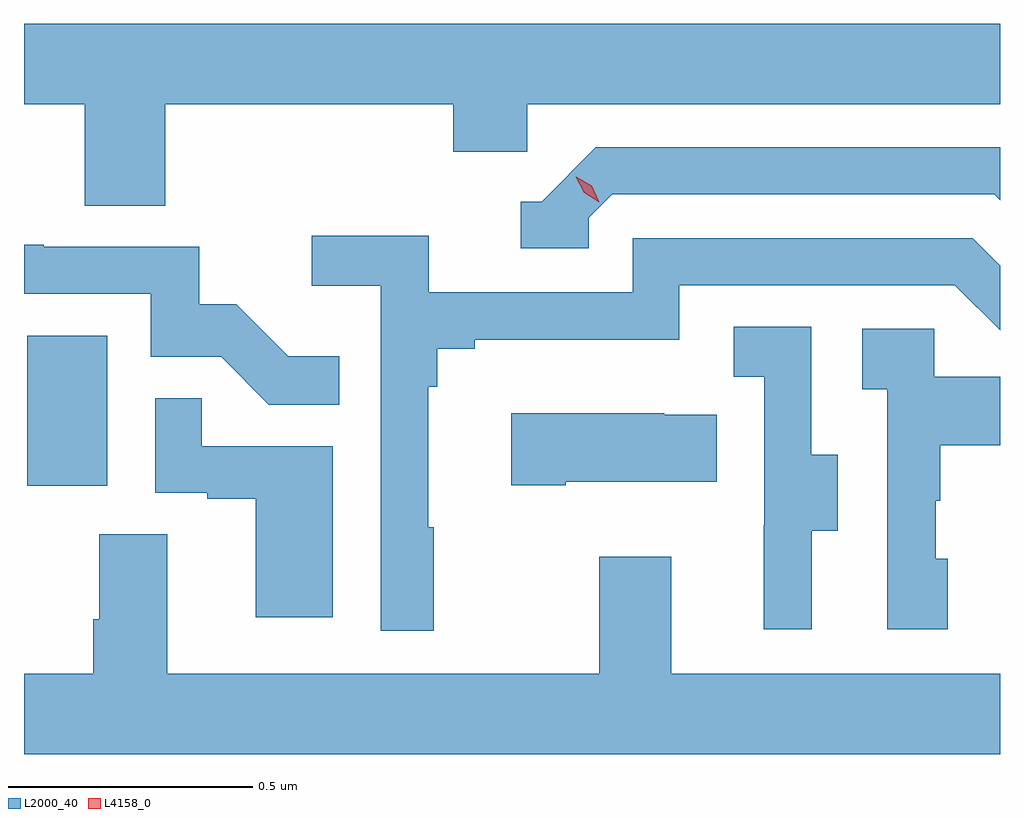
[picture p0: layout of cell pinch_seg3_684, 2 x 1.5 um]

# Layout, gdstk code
import gdstk
lib = gdstk.Library(unit=1e-6, precision=1e-09)
def R(c, l, rs):  # rectangles x0, y0, x1, y1
    for r in rs: c.add(gdstk.rectangle(r[:2], r[2:], *l))
def P(c, l, *ps):  # polygons
    for p in ps: c.add(gdstk.Polygon(p, *l))
L2000_40 = (2000, 40)
L4158_0 = (4158, 0)

pinch_seg3_684 = lib.new_cell('pinch_seg3_684')
R(pinch_seg3_684, L2000_40, [(1071.968,670.83,1072.132,671.137)])
P(pinch_seg3_684, L2000_40, [(1072.25,671.612),(1072.841,671.612),(1072.841,671.514),(1072.992,671.514),(1072.992,671.612),(1073.961,671.612),(1073.961,671.776),(1071.961,671.776),(1071.961,671.612),(1072.085,671.612),(1072.085,671.404),(1072.25,671.404)],
  [(1073.118,671.379),(1073.166,671.427),(1073.949,671.427),(1073.961,671.415),(1073.961,671.523),(1073.133,671.523),(1073.022,671.412),(1072.979,671.412),(1072.979,671.316),(1073.118,671.316)],
  [(1072.801,670.745),(1072.789,670.745),(1072.789,671.033),(1072.808,671.033),(1072.808,671.11),(1072.885,671.11),(1072.885,671.129),(1073.304,671.129),(1073.304,671.241),(1073.868,671.241),(1073.961,671.148),(1073.961,671.281),(1073.905,671.337),(1073.208,671.337),(1073.208,671.226),(1072.79,671.226),(1072.79,671.342),(1072.551,671.342),(1072.551,671.24),(1072.692,671.24),(1072.692,670.533),(1072.801,670.533)],
  [(1072.607,671.095),(1072.503,671.095),(1072.396,671.202),(1072.32,671.202),(1072.32,671.319),(1072.001,671.319),(1072.001,671.324),(1071.961,671.324),(1071.961,671.223),(1072.221,671.223),(1072.221,671.094),(1072.365,671.094),(1072.463,670.996),(1072.607,670.996)],
  [(1073.575,670.738),(1073.629,670.738),(1073.629,670.893),(1073.574,670.893),(1073.574,671.156),(1073.415,671.156),(1073.415,671.053),(1073.478,671.053),(1073.478,670.749),(1073.477,670.749),(1073.477,670.536),(1073.575,670.536)],
  [(1073.854,670.68),(1073.829,670.68),(1073.829,670.799),(1073.839,670.799),(1073.839,670.913),(1073.961,670.913),(1073.961,671.053),(1073.826,671.053),(1073.826,671.151),(1073.679,671.151),(1073.679,671.027),(1073.73,671.027),(1073.73,670.536),(1073.854,670.536)],
  [(1072.594,670.911),(1072.325,670.911),(1072.325,671.009),(1072.23,671.009),(1072.23,670.815),(1072.337,670.815),(1072.337,670.803),(1072.436,670.803),(1072.436,670.56),(1072.594,670.56)],
  [(1073.071,670.838),(1073.381,670.838),(1073.381,670.975),(1073.273,670.975),(1073.273,670.978),(1072.959,670.978),(1072.959,670.831),(1073.071,670.831)],
  [(1073.961,670.444),(1073.287,670.444),(1073.287,670.684),(1073.14,670.684),(1073.14,670.444),(1072.255,670.444),(1072.255,670.73),(1072.115,670.73),(1072.115,670.556),(1072.103,670.556),(1072.103,670.444),(1071.961,670.444),(1071.961,670.28),(1073.961,670.28)])
P(pinch_seg3_684, L4158_0, [(1073.14,671.411),(1073.109,671.43),(1073.092,671.463),(1073.092,671.463),(1073.093,671.463),(1073.124,671.444),(1073.14,671.411),(1073.14,671.411)])

lib.write_gds('pinch_seg3_684.gds')
